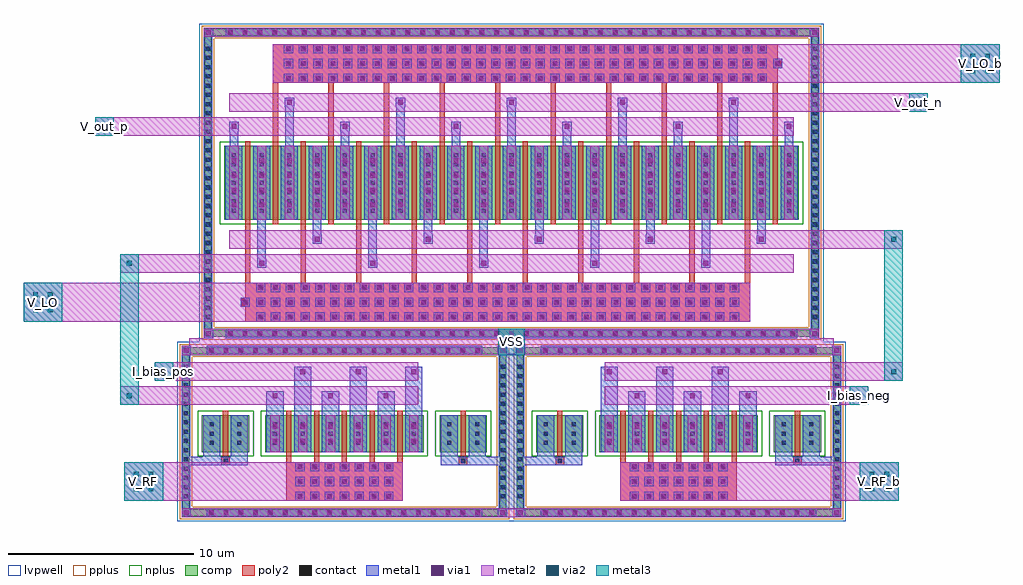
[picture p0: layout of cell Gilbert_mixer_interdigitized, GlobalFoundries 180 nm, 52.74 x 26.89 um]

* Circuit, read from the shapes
.subckt Gilbert_mixer_interdigitized I_bias_neg I_bias_pos VSS V_LO V_LO_b V_RF V_RF_b V_out_n V_out_p
XM1 VSS VSS VSS VSS nfet_03v3 w=2u l=0.28u m=4
XM2 n1 V_LO V_out_p VSS nfet_03v3 w=4u l=0.28u m=5
XM3 V_out_n V_LO_b n1 VSS nfet_03v3 w=4u l=0.28u m=5
XM4 I_bias_pos V_RF n1 VSS nfet_03v3 w=2u l=0.28u m=5
XM5 n2 V_LO V_out_n VSS nfet_03v3 w=4u l=0.28u m=5
XM6 V_out_p V_LO_b n2 VSS nfet_03v3 w=4u l=0.28u m=5
XM7 I_bias_neg V_RF_b n2 VSS nfet_03v3 w=2u l=0.28u m=5
.ends

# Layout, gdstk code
import gdstk
lib = gdstk.Library(unit=1e-6, precision=1e-09)
def R(c, l, rs):  # rectangles x0, y0, x1, y1
    for r in rs: c.add(gdstk.rectangle(r[:2], r[2:], *l))
def A(c, l, x, y, w, h, nx, ny, dx, dy):  # array of equal rectangles
    R(c, l, [(x+i*dx, y+j*dy, x+i*dx+w, y+j*dy+h) for i in range(nx) for j in range(ny)])
def P(c, l, *ps):  # polygons
    for p in ps: c.add(gdstk.Polygon(p, *l))
comp = (22, 0)
poly2 = (30, 0)
pplus = (31, 0)
nplus = (32, 0)
contact = (33, 0)
metal1 = (34, 0)
via1 = (35, 0)
metal2 = (36, 0)
via2 = (38, 0)
metal3 = (42, 0)
lvpwell = (204, 0)

lo_diff_pairs_interdigit = lib.new_cell('LO_diff_pairs_interdigitized')
A(lo_diff_pairs_interdigit, comp, -15.38, -8.32, 0.36, 0.36, 39, 2, 0.8, 16.28)
A(lo_diff_pairs_interdigit, comp, -16.58, -7.43, 0.36, 0.36, 1, 30, 0, 0.5)
A(lo_diff_pairs_interdigit, comp, 16.22, -7.43, 0.36, 0.36, 1, 30, 0, 0.5)
R(lo_diff_pairs_interdigit, comp, [(-15.38,-8.32,15.38,-7.96), (-16.58,-7.43,-16.22,7.43), (16.22,-7.43,16.58,7.43), (-15.53,-2,15.53,2), (-15.38,7.96,15.38,8.32)])
P(lo_diff_pairs_interdigit, comp, [(16.58,8.32),(-16.58,8.32),(-16.58,-7.96),(-16.22,-7.96),(-16.22,7.96),(16.22,7.96),(16.22,-7.96),(-16.22,-7.96),(-16.58,-7.96),(-16.58,-8.32),(16.58,-8.32)])
A(lo_diff_pairs_interdigit, poly2, -13.73, -7.43, 0.36, 0.36, 33, 3, 0.8, 0.8)
A(lo_diff_pairs_interdigit, poly2, -14.39, -5.4, 0.28, 3.16, 10, 1, 3, 0)
A(lo_diff_pairs_interdigit, poly2, -14.39, -2.24, 0.28, 4.48, 20, 1, 1.5, 0)
A(lo_diff_pairs_interdigit, poly2, -12.89, 2.24, 0.28, 3.16, 10, 1, 3, 0)
A(lo_diff_pairs_interdigit, poly2, -12.23, 5.47, 0.36, 0.36, 33, 3, 0.8, 0.8)
R(lo_diff_pairs_interdigit, poly2, [(-14.39,-7.5,12.89,-5.4), (-12.89,5.4,14.39,7.5)])
P(lo_diff_pairs_interdigit, pplus, [(16.74,8.48),(-16.74,8.48),(-16.74,-7.8),(-16.06,-7.8),(-16.06,7.8),(16.06,7.8),(16.06,-7.8),(-16.06,-7.8),(-16.74,-7.8),(-16.74,-8.48),(16.74,-8.48)])
R(lo_diff_pairs_interdigit, nplus, [(-15.76,-2.23,15.76,2.23)])
A(lo_diff_pairs_interdigit, contact, -15.31, -8.25, 0.22, 0.22, 39, 2, 0.8, 16.28)
A(lo_diff_pairs_interdigit, contact, -16.51, -7.36, 0.22, 0.22, 1, 30, 0, 0.5)
A(lo_diff_pairs_interdigit, contact, -13.66, -7.36, 0.22, 0.22, 33, 3, 0.8, 0.8)
A(lo_diff_pairs_interdigit, contact, 16.29, -7.36, 0.22, 0.22, 1, 30, 0, 0.5)
A(lo_diff_pairs_interdigit, contact, -15.11, -1.61, 0.22, 0.22, 21, 7, 1.5, 0.5)
A(lo_diff_pairs_interdigit, contact, -12.16, 5.54, 0.22, 0.22, 33, 3, 0.8, 0.8)
A(lo_diff_pairs_interdigit, metal1, -15.45, -8.39, 0.5, 0.5, 39, 2, 0.8, 16.28)
A(lo_diff_pairs_interdigit, metal1, -13.8, -7.5, 0.5, 0.5, 33, 3, 0.8, 0.8)
A(lo_diff_pairs_interdigit, metal1, -16.63, -7.48, 0.46, 0.46, 1, 30, 0, 0.5)
A(lo_diff_pairs_interdigit, metal1, 16.17, -7.48, 0.46, 0.46, 1, 30, 0, 0.5)
A(lo_diff_pairs_interdigit, metal1, -13.75, -4.6, 0.5, 0.5, 5, 1, 6, 0)
A(lo_diff_pairs_interdigit, metal1, -13.73, -4.1, 0.46, 2.1, 5, 1, 6, 0)
A(lo_diff_pairs_interdigit, metal1, -10.75, -3.3, 0.5, 0.5, 5, 1, 6, 0)
A(lo_diff_pairs_interdigit, metal1, -10.73, -2.8, 0.46, 0.8, 5, 1, 6, 0)
A(lo_diff_pairs_interdigit, metal1, -15.46, -2, 0.92, 4, 21, 1, 1.5, 0)
A(lo_diff_pairs_interdigit, metal1, -15.23, -1.73, 0.46, 0.46, 21, 7, 1.5, 0.5)
A(lo_diff_pairs_interdigit, metal1, -15.25, -1.45, 0.5, 0.5, 21, 4, 1.5, 0.8)
A(lo_diff_pairs_interdigit, metal1, -15.25, -1.45, 0.5, 2.9, 21, 1, 1.5, 0)
A(lo_diff_pairs_interdigit, metal1, -15.23, 2, 0.46, 1.3, 6, 1, 6, 0)
A(lo_diff_pairs_interdigit, metal1, -12.23, 2, 0.46, 2.6, 5, 1, 6, 0)
A(lo_diff_pairs_interdigit, metal1, -15.25, 2.8, 0.5, 0.5, 6, 1, 6, 0)
A(lo_diff_pairs_interdigit, metal1, -12.25, 4.1, 0.5, 0.5, 5, 1, 6, 0)
A(lo_diff_pairs_interdigit, metal1, -12.3, 5.4, 0.5, 0.5, 33, 3, 0.8, 0.8)
R(lo_diff_pairs_interdigit, metal1, [(-16.63,-8.39,-16.13,-7.89), (-16.63,-8.39,-16.13,-7.89), (-16.63,-8.39,-16.17,-7.96), (-15.45,-8.39,15.45,-7.89), (16.13,-8.39,16.63,-7.89), (16.13,-8.39,16.63,-7.89), (16.17,-8.39,16.63,-7.96), (-16.63,-7.96,-16.17,7.96), (16.17,-7.96,16.63,7.96), (-16.63,7.89,-16.13,8.39), (-16.63,7.89,-16.13,8.39), (-15.45,7.89,15.45,8.39), (16.13,7.89,16.63,8.39), (16.13,7.89,16.63,8.39), (-16.63,7.96,-16.17,8.39), (16.17,7.96,16.63,8.39)])
A(lo_diff_pairs_interdigit, via1, -15.33, -8.27, 0.26, 0.26, 39, 2, 0.8, 16.28)
A(lo_diff_pairs_interdigit, via1, -13.68, -7.38, 0.26, 0.26, 33, 3, 0.8, 0.8)
A(lo_diff_pairs_interdigit, via1, -13.63, -4.48, 0.26, 0.26, 5, 1, 6, 0)
A(lo_diff_pairs_interdigit, via1, -10.63, -3.18, 0.26, 0.26, 5, 1, 6, 0)
A(lo_diff_pairs_interdigit, via1, -15.13, -1.33, 0.26, 0.26, 21, 4, 1.5, 0.8)
A(lo_diff_pairs_interdigit, via1, -15.13, 2.92, 0.26, 0.26, 6, 1, 6, 0)
A(lo_diff_pairs_interdigit, via1, -12.13, 4.22, 0.26, 0.26, 5, 1, 6, 0)
A(lo_diff_pairs_interdigit, via1, -12.18, 5.52, 0.26, 0.26, 33, 3, 0.8, 0.8)
R(lo_diff_pairs_interdigit, via1, [(-16.51,-8.27,-16.25,-8.01), (16.25,-8.27,16.51,-8.01), (-16.51,8.01,-16.25,8.27), (16.25,8.01,16.51,8.27)])
A(lo_diff_pairs_interdigit, metal2, -15.45, -8.39, 0.5, 0.5, 39, 2, 0.8, 16.28)
A(lo_diff_pairs_interdigit, metal2, -13.8, -7.5, 0.5, 0.5, 33, 3, 0.8, 0.8)
A(lo_diff_pairs_interdigit, metal2, -13.75, -4.6, 0.5, 0.5, 5, 1, 6, 0)
A(lo_diff_pairs_interdigit, metal2, -10.75, -3.3, 0.5, 0.5, 5, 1, 6, 0)
A(lo_diff_pairs_interdigit, metal2, -15.25, -2, 0.5, 4, 21, 1, 1.5, 0)
A(lo_diff_pairs_interdigit, metal2, -15.25, -1.45, 0.5, 0.5, 21, 4, 1.5, 0.8)
A(lo_diff_pairs_interdigit, metal2, -15.25, 2.8, 0.5, 0.5, 6, 1, 6, 0)
A(lo_diff_pairs_interdigit, metal2, -12.25, 4.1, 0.5, 0.5, 5, 1, 6, 0)
A(lo_diff_pairs_interdigit, metal2, -12.3, 5.4, 0.5, 0.5, 33, 3, 0.8, 0.8)
R(lo_diff_pairs_interdigit, metal2, [(-16.63,-8.39,-16.13,-7.89), (-16.63,-8.39,-16.13,-7.89), (-16.63,-8.39,-16.22,-7.89), (-16.22,-8.39,16.22,-7.89), (16.13,-8.39,16.63,-7.89), (16.13,-8.39,16.63,-7.89), (16.22,-8.39,16.63,-7.89), (-14.39,-7.5,12.89,-5.4), (-15.25,-4.85,15.25,-3.85), (-15.25,-3.55,15.25,-2.55), (-15.25,2.55,15.25,3.55), (-15.25,3.85,15.25,4.85), (-12.89,5.4,14.39,7.5), (-16.63,7.89,-16.13,8.39), (-16.63,7.89,-16.13,8.39), (-16.63,7.89,-16.22,8.39), (-16.22,7.89,16.22,8.39), (16.13,7.89,16.63,8.39), (16.13,7.89,16.63,8.39), (16.22,7.89,16.63,8.39)])
R(lo_diff_pairs_interdigit, lvpwell, [(-16.86,-8.6,16.86,8.6)])

rf_diff_pair_1 = lib.new_cell('RF_diff_pair$1')
A(rf_diff_pair_1, comp, -7.38, -4.565, 0.36, 0.36, 19, 2, 0.8, 8.77)
A(rf_diff_pair_1, comp, 10.68, -4.565, 0.36, 0.36, 19, 2, 0.8, 8.77)
A(rf_diff_pair_1, comp, -8.75, -3.68, 0.36, 0.36, 1, 15, 0, 0.5)
A(rf_diff_pair_1, comp, 8.39, -3.68, 0.36, 0.36, 1, 15, 0, 0.5)
A(rf_diff_pair_1, comp, 9.31, -3.68, 0.36, 0.36, 1, 15, 0, 0.5)
A(rf_diff_pair_1, comp, 26.45, -3.68, 0.36, 0.36, 1, 15, 0, 0.5)
R(rf_diff_pair_1, comp, [(-7.38,-4.565,7.38,-4.205), (10.68,-4.565,25.44,-4.205), (-8.75,-3.68,-8.39,3.68), (8.39,-3.68,8.75,3.68), (9.31,-3.68,9.67,3.68), (26.45,-3.68,26.81,3.68), (-7.7,-1.105,-5.14,0.895), (-4.28,-1.105,4.28,0.895), (5.14,-1.105,7.7,0.895), (10.36,-1.105,12.92,0.895), (13.78,-1.105,22.34,0.895), (23.2,-1.105,25.76,0.895), (-7.38,4.205,7.38,4.565), (10.68,4.205,25.44,4.565)])
P(rf_diff_pair_1, comp, [(8.75,4.565),(-8.75,4.565),(-8.75,-4.205),(-8.39,-4.205),(-8.39,4.205),(8.39,4.205),(8.39,-4.205),(-8.39,-4.205),(-8.75,-4.205),(-8.75,-4.565),(8.75,-4.565)],
  [(9.31,4.565),(26.81,4.565),(26.81,-4.205),(26.45,-4.205),(26.45,4.205),(9.67,4.205),(9.67,-4.205),(26.45,-4.205),(26.81,-4.205),(26.81,-4.565),(9.31,-4.565)])
A(rf_diff_pair_1, poly2, -2.58, -3.675, 0.36, 0.36, 7, 3, 0.8, 0.8)
A(rf_diff_pair_1, poly2, 15.48, -3.675, 0.36, 0.36, 7, 3, 0.8, 0.8)
A(rf_diff_pair_1, poly2, -3.14, -1.645, 0.28, 0.3, 5, 1, 1.5, 0)
A(rf_diff_pair_1, poly2, 14.92, -1.645, 0.28, 0.3, 5, 1, 1.5, 0)
A(rf_diff_pair_1, poly2, -3.14, -1.345, 0.28, 2.48, 5, 1, 1.5, 0)
A(rf_diff_pair_1, poly2, 14.92, -1.345, 0.28, 2.48, 5, 1, 1.5, 0)
R(rf_diff_pair_1, poly2, [(-3.14,-3.745,3.14,-1.645), (14.92,-3.745,21.2,-1.645), (-6.65,-1.805,-6.19,-1.345), (6.19,-1.805,6.65,-1.345), (11.41,-1.805,11.87,-1.345), (24.25,-1.805,24.71,-1.345), (-6.6,-1.755,-6.24,-1.395), (6.24,-1.755,6.6,-1.395), (11.46,-1.755,11.82,-1.395), (24.3,-1.755,24.66,-1.395), (-6.56,-1.345,-6.28,1.135), (6.28,-1.345,6.56,1.135), (11.5,-1.345,11.78,1.135), (24.34,-1.345,24.62,1.135)])
P(rf_diff_pair_1, pplus, [(8.91,4.725),(-8.91,4.725),(-8.91,-4.045),(-8.23,-4.045),(-8.23,4.045),(8.23,4.045),(8.23,-4.045),(-8.23,-4.045),(-8.91,-4.045),(-8.91,-4.725),(8.91,-4.725)],
  [(9.15,4.725),(26.97,4.725),(26.97,-4.045),(26.29,-4.045),(26.29,4.045),(9.83,4.045),(9.83,-4.045),(26.29,-4.045),(26.97,-4.045),(26.97,-4.725),(9.15,-4.725)])
R(rf_diff_pair_1, nplus, [(-7.93,-1.335,-4.91,1.125), (-4.51,-1.335,4.51,1.125), (4.91,-1.335,7.93,1.125), (10.13,-1.335,13.15,1.125), (13.55,-1.335,22.57,1.125), (22.97,-1.335,25.99,1.125)])
A(rf_diff_pair_1, contact, -7.31, -4.495, 0.22, 0.22, 19, 2, 0.8, 8.77)
A(rf_diff_pair_1, contact, 10.75, -4.495, 0.22, 0.22, 19, 2, 0.8, 8.77)
A(rf_diff_pair_1, contact, -8.68, -3.61, 0.22, 0.22, 1, 15, 0, 0.5)
A(rf_diff_pair_1, contact, 8.46, -3.61, 0.22, 0.22, 1, 15, 0, 0.5)
A(rf_diff_pair_1, contact, 9.38, -3.61, 0.22, 0.22, 1, 15, 0, 0.5)
A(rf_diff_pair_1, contact, 26.52, -3.61, 0.22, 0.22, 1, 15, 0, 0.5)
A(rf_diff_pair_1, contact, -2.51, -3.605, 0.22, 0.22, 7, 3, 0.8, 0.8)
A(rf_diff_pair_1, contact, 15.55, -3.605, 0.22, 0.22, 7, 3, 0.8, 0.8)
A(rf_diff_pair_1, contact, -7.28, -0.715, 0.22, 0.22, 1, 3, 0, 0.5)
A(rf_diff_pair_1, contact, -5.78, -0.715, 0.22, 0.22, 1, 3, 0, 0.5)
A(rf_diff_pair_1, contact, -3.86, -0.715, 0.22, 0.22, 6, 3, 1.5, 0.5)
A(rf_diff_pair_1, contact, 5.56, -0.715, 0.22, 0.22, 1, 3, 0, 0.5)
A(rf_diff_pair_1, contact, 7.06, -0.715, 0.22, 0.22, 1, 3, 0, 0.5)
A(rf_diff_pair_1, contact, 10.78, -0.715, 0.22, 0.22, 1, 3, 0, 0.5)
A(rf_diff_pair_1, contact, 12.28, -0.715, 0.22, 0.22, 1, 3, 0, 0.5)
A(rf_diff_pair_1, contact, 14.2, -0.715, 0.22, 0.22, 6, 3, 1.5, 0.5)
A(rf_diff_pair_1, contact, 23.62, -0.715, 0.22, 0.22, 1, 3, 0, 0.5)
A(rf_diff_pair_1, contact, 25.12, -0.715, 0.22, 0.22, 1, 3, 0, 0.5)
R(rf_diff_pair_1, contact, [(-6.53,-1.685,-6.31,-1.465), (6.31,-1.685,6.53,-1.465), (11.53,-1.685,11.75,-1.465), (24.37,-1.685,24.59,-1.465)])
A(rf_diff_pair_1, metal1, -7.45, -4.635, 0.5, 0.5, 19, 2, 0.8, 8.77)
A(rf_diff_pair_1, metal1, 10.61, -4.635, 0.5, 0.5, 19, 2, 0.8, 8.77)
A(rf_diff_pair_1, metal1, -2.65, -3.745, 0.5, 0.5, 7, 3, 0.8, 0.8)
A(rf_diff_pair_1, metal1, 15.41, -3.745, 0.5, 0.5, 7, 3, 0.8, 0.8)
A(rf_diff_pair_1, metal1, -8.8, -3.73, 0.46, 0.46, 1, 15, 0, 0.5)
A(rf_diff_pair_1, metal1, 8.34, -3.73, 0.46, 0.46, 1, 15, 0, 0.5)
A(rf_diff_pair_1, metal1, 9.26, -3.73, 0.46, 0.46, 1, 15, 0, 0.5)
A(rf_diff_pair_1, metal1, 26.4, -3.73, 0.46, 0.46, 1, 15, 0, 0.5)
A(rf_diff_pair_1, metal1, -4.21, -1.105, 0.92, 2, 6, 1, 1.5, 0)
A(rf_diff_pair_1, metal1, 13.85, -1.105, 0.92, 2, 6, 1, 1.5, 0)
A(rf_diff_pair_1, metal1, -7.4, -0.835, 0.46, 0.46, 1, 3, 0, 0.5)
A(rf_diff_pair_1, metal1, -5.9, -0.835, 0.46, 0.46, 1, 3, 0, 0.5)
A(rf_diff_pair_1, metal1, -3.98, -0.835, 0.46, 0.46, 6, 3, 1.5, 0.5)
A(rf_diff_pair_1, metal1, 5.44, -0.835, 0.46, 0.46, 1, 3, 0, 0.5)
A(rf_diff_pair_1, metal1, 6.94, -0.835, 0.46, 0.46, 1, 3, 0, 0.5)
A(rf_diff_pair_1, metal1, 10.66, -0.835, 0.46, 0.46, 1, 3, 0, 0.5)
A(rf_diff_pair_1, metal1, 12.16, -0.835, 0.46, 0.46, 1, 3, 0, 0.5)
A(rf_diff_pair_1, metal1, 14.08, -0.835, 0.46, 0.46, 6, 3, 1.5, 0.5)
A(rf_diff_pair_1, metal1, 23.5, -0.835, 0.46, 0.46, 1, 3, 0, 0.5)
A(rf_diff_pair_1, metal1, 25, -0.835, 0.46, 0.46, 1, 3, 0, 0.5)
A(rf_diff_pair_1, metal1, -4, -0.755, 0.5, 0.5, 6, 2, 1.5, 0.8)
A(rf_diff_pair_1, metal1, -4, -0.755, 0.5, 1.3, 6, 1, 1.5, 0)
A(rf_diff_pair_1, metal1, 14.06, -0.755, 0.5, 0.5, 6, 2, 1.5, 0.8)
A(rf_diff_pair_1, metal1, 14.06, -0.755, 0.5, 1.3, 6, 1, 1.5, 0)
A(rf_diff_pair_1, metal1, -4.21, 0.895, 0.92, 1.3, 3, 1, 3, 0)
A(rf_diff_pair_1, metal1, -2.71, 0.895, 0.92, 2.6, 3, 1, 3, 0)
A(rf_diff_pair_1, metal1, 13.85, 0.895, 0.92, 2.6, 3, 1, 3, 0)
A(rf_diff_pair_1, metal1, 15.35, 0.895, 0.92, 1.3, 3, 1, 3, 0)
A(rf_diff_pair_1, metal1, -4, 1.695, 0.5, 0.5, 3, 1, 3, 0)
A(rf_diff_pair_1, metal1, 15.56, 1.695, 0.5, 0.5, 3, 1, 3, 0)
A(rf_diff_pair_1, metal1, -2.5, 2.995, 0.5, 0.5, 3, 1, 3, 0)
A(rf_diff_pair_1, metal1, 14.06, 2.995, 0.5, 0.5, 3, 1, 3, 0)
R(rf_diff_pair_1, metal1, [(-8.8,-4.635,-8.3,-4.135), (-8.8,-4.635,-8.3,-4.135), (-8.8,-4.635,-8.34,-4.205), (-7.45,-4.635,7.45,-4.135), (8.3,-4.635,8.8,-4.135), (8.3,-4.635,8.8,-4.135), (8.34,-4.635,8.8,-4.205), (9.26,-4.635,9.76,-4.135), (9.26,-4.635,9.76,-4.135), (9.26,-4.635,9.72,-4.205), (10.61,-4.635,25.51,-4.135), (26.36,-4.635,26.86,-4.135), (26.36,-4.635,26.86,-4.135), (26.4,-4.635,26.86,-4.205), (-8.8,-4.205,-8.34,4.205), (8.34,-4.205,8.8,4.205), (9.26,-4.205,9.72,4.205), (26.4,-4.205,26.86,4.205), (-8.8,-1.805,-6.65,-1.345), (-7.63,-1.805,-6.65,-1.345), (-7.63,-1.805,-6.71,-1.105), (-6.65,-1.805,-6.19,-1.345), (-6.19,-1.805,-5.21,-1.345), (-6.13,-1.805,-5.21,-1.105), (5.21,-1.805,6.19,-1.345), (5.21,-1.805,6.13,-1.105), (6.19,-1.805,6.65,-1.345), (6.19,-1.805,8.8,-1.345), (6.65,-1.805,7.63,-1.345), (6.71,-1.805,7.63,-1.105), (9.26,-1.805,11.87,-1.345), (10.43,-1.805,11.41,-1.345), (10.43,-1.805,11.35,-1.105), (11.41,-1.805,11.87,-1.345), (11.87,-1.805,12.85,-1.345), (11.93,-1.805,12.85,-1.105), (23.27,-1.805,24.25,-1.345), (23.27,-1.805,24.19,-1.105), (24.25,-1.805,24.71,-1.345), (24.71,-1.805,25.69,-1.345), (24.71,-1.805,26.86,-1.345), (24.77,-1.805,25.69,-1.105), (-7.63,-1.105,-6.71,0.895), (-6.13,-1.105,-5.21,0.895), (5.21,-1.105,6.13,0.895), (6.71,-1.105,7.63,0.895), (10.43,-1.105,11.35,0.895), (11.93,-1.105,12.85,0.895), (23.27,-1.105,24.19,0.895), (24.77,-1.105,25.69,0.895), (-8.8,4.135,-8.3,4.635), (-8.8,4.135,-8.3,4.635), (-7.45,4.135,7.45,4.635), (8.3,4.135,8.8,4.635), (8.3,4.135,8.8,4.635), (9.26,4.135,9.76,4.635), (9.26,4.135,9.76,4.635), (10.61,4.135,25.51,4.635), (26.36,4.135,26.86,4.635), (26.36,4.135,26.86,4.635), (-8.8,4.205,-8.34,4.635), (8.34,4.205,8.8,4.635), (9.26,4.205,9.72,4.635), (26.4,4.205,26.86,4.635)])
A(rf_diff_pair_1, via1, -7.33, -4.515, 0.26, 0.26, 19, 2, 0.8, 8.77)
A(rf_diff_pair_1, via1, 10.73, -4.515, 0.26, 0.26, 19, 2, 0.8, 8.77)
A(rf_diff_pair_1, via1, -2.53, -3.625, 0.26, 0.26, 7, 3, 0.8, 0.8)
A(rf_diff_pair_1, via1, 15.53, -3.625, 0.26, 0.26, 7, 3, 0.8, 0.8)
A(rf_diff_pair_1, via1, -3.88, -0.635, 0.26, 0.26, 6, 2, 1.5, 0.8)
A(rf_diff_pair_1, via1, 14.18, -0.635, 0.26, 0.26, 6, 2, 1.5, 0.8)
A(rf_diff_pair_1, via1, -3.88, 1.815, 0.26, 0.26, 3, 1, 3, 0)
A(rf_diff_pair_1, via1, 15.68, 1.815, 0.26, 0.26, 3, 1, 3, 0)
A(rf_diff_pair_1, via1, -2.38, 3.115, 0.26, 0.26, 3, 1, 3, 0)
A(rf_diff_pair_1, via1, 14.18, 3.115, 0.26, 0.26, 3, 1, 3, 0)
R(rf_diff_pair_1, via1, [(-8.68,-4.515,-8.42,-4.255), (8.42,-4.515,8.68,-4.255), (9.38,-4.515,9.64,-4.255), (26.48,-4.515,26.74,-4.255), (-8.68,4.255,-8.42,4.515), (8.42,4.255,8.68,4.515), (9.38,4.255,9.64,4.515), (26.48,4.255,26.74,4.515)])
A(rf_diff_pair_1, metal2, -7.45, -4.635, 0.5, 0.5, 19, 2, 0.8, 8.77)
A(rf_diff_pair_1, metal2, 10.61, -4.635, 0.5, 0.5, 19, 2, 0.8, 8.77)
A(rf_diff_pair_1, metal2, -2.65, -3.745, 0.5, 0.5, 7, 3, 0.8, 0.8)
A(rf_diff_pair_1, metal2, 15.41, -3.745, 0.5, 0.5, 7, 3, 0.8, 0.8)
A(rf_diff_pair_1, metal2, -4, -1.105, 0.5, 2, 6, 1, 1.5, 0)
A(rf_diff_pair_1, metal2, 14.06, -1.105, 0.5, 2, 6, 1, 1.5, 0)
A(rf_diff_pair_1, metal2, -4, -0.755, 0.5, 0.5, 6, 2, 1.5, 0.8)
A(rf_diff_pair_1, metal2, 14.06, -0.755, 0.5, 0.5, 6, 2, 1.5, 0.8)
A(rf_diff_pair_1, metal2, -4, 1.695, 0.5, 0.5, 3, 1, 3, 0)
A(rf_diff_pair_1, metal2, 15.56, 1.695, 0.5, 0.5, 3, 1, 3, 0)
A(rf_diff_pair_1, metal2, -2.5, 2.995, 0.5, 0.5, 3, 1, 3, 0)
A(rf_diff_pair_1, metal2, 14.06, 2.995, 0.5, 0.5, 3, 1, 3, 0)
R(rf_diff_pair_1, metal2, [(-8.8,-4.635,-8.3,-4.135), (-8.8,-4.635,-8.3,-4.135), (-8.8,-4.635,-8.39,-4.135), (-8.39,-4.635,8.39,-4.135), (8.3,-4.635,8.8,-4.135), (8.3,-4.635,8.8,-4.135), (8.39,-4.635,8.8,-4.135), (9.26,-4.635,9.76,-4.135), (9.26,-4.635,9.76,-4.135), (9.26,-4.635,9.67,-4.135), (9.67,-4.635,26.45,-4.135), (26.36,-4.635,26.86,-4.135), (26.36,-4.635,26.86,-4.135), (26.45,-4.635,26.86,-4.135), (-3.14,-3.745,3.14,-1.645), (14.92,-3.745,21.2,-1.645), (-4,1.445,4,2.445), (14.06,1.445,22.06,2.445), (-4,2.745,4,3.745), (14.06,2.745,22.06,3.745), (-8.8,4.135,-8.3,4.635), (-8.8,4.135,-8.3,4.635), (-8.8,4.135,-8.39,4.635), (-8.39,4.135,8.39,4.635), (8.3,4.135,8.8,4.635), (8.3,4.135,8.8,4.635), (8.39,4.135,8.8,4.635), (9.26,4.135,9.76,4.635), (9.26,4.135,9.76,4.635), (9.26,4.135,9.67,4.635), (9.67,4.135,26.45,4.635), (26.36,4.135,26.86,4.635), (26.36,4.135,26.86,4.635), (26.45,4.135,26.86,4.635)])
R(rf_diff_pair_1, lvpwell, [(-9.03,-4.845,9.03,4.845), (9.03,-4.845,27.09,4.845)])

straight_route_10f40c94 = lib.new_cell('straight_route_10f40c94')
R(straight_route_10f40c94, metal1, [(-0.23,-17.65,0.69,-9.24)])

straight_route_78d10438 = lib.new_cell('straight_route_78d10438')
R(straight_route_78d10438, metal2, [(-17.42,-8.81,-0.64,-8.39)])

straight_route_e39a8c76 = lib.new_cell('straight_route_e39a8c76')
R(straight_route_e39a8c76, metal2, [(0.64,-8.81,17.42,-8.39)])

straight_route_cefe9225 = lib.new_cell('straight_route_cefe9225')
R(straight_route_cefe9225, metal2, [(-0.64,-9.31,0.64,-8.81)])

straight_route_d6242aec = lib.new_cell('straight_route_d6242aec')
R(straight_route_d6242aec, metal2, [(-0.64,-18.08,0.64,-17.58)])

via_array_8488b2e3 = lib.new_cell('via_array_8488b2e3')
R(via_array_8488b2e3, metal2, [(-0.71,-0.71,0.71,0.71), (-0.25,-0.25,0.25,0.25)])
R(via_array_8488b2e3, via2, [(-0.13,-0.13,0.13,0.13)])
R(via_array_8488b2e3, metal3, [(-0.71,-0.71,0.71,0.71), (-0.25,-0.25,0.25,0.25)])

via_array_67232304 = lib.new_cell('via_array_67232304')
R(via_array_67232304, metal2, [(-0.5,-0.5,0.5,0.5), (-0.25,-0.25,0.25,0.25)])
R(via_array_67232304, via2, [(-0.13,-0.13,0.13,0.13)])
R(via_array_67232304, metal3, [(-0.5,-0.5,0.5,0.5), (-0.25,-0.25,0.25,0.25)])

via_array_67232304_1 = lib.new_cell('via_array_67232304$1')
R(via_array_67232304_1, metal2, [(-0.5,-0.5,0.5,0.5), (-0.25,-0.25,0.25,0.25)])
R(via_array_67232304_1, via2, [(-0.13,-0.13,0.13,0.13)])
R(via_array_67232304_1, metal3, [(-0.5,-0.5,0.5,0.5), (-0.25,-0.25,0.25,0.25)])

via_array_67232304_2 = lib.new_cell('via_array_67232304$2')
R(via_array_67232304_2, metal2, [(-0.5,-0.5,0.5,0.5), (-0.25,-0.25,0.25,0.25)])
R(via_array_67232304_2, via2, [(-0.13,-0.13,0.13,0.13)])
R(via_array_67232304_2, metal3, [(-0.5,-0.5,0.5,0.5), (-0.25,-0.25,0.25,0.25)])

via_array_67232304_3 = lib.new_cell('via_array_67232304$3')
R(via_array_67232304_3, metal2, [(-0.5,-0.5,0.5,0.5), (-0.25,-0.25,0.25,0.25)])
R(via_array_67232304_3, via2, [(-0.13,-0.13,0.13,0.13)])
R(via_array_67232304_3, metal3, [(-0.5,-0.5,0.5,0.5), (-0.25,-0.25,0.25,0.25)])

straight_route_111d46c7 = lib.new_cell('straight_route_111d46c7')
R(straight_route_111d46c7, metal2, [(-20.15,-4.85,-15.25,-3.85)])

straight_route_2e87518e = lib.new_cell('straight_route_2e87518e')
R(straight_route_2e87518e, metal2, [(15.25,-3.55,21.15,-2.55)])

straight_route_793c5d0f = lib.new_cell('straight_route_793c5d0f')
R(straight_route_793c5d0f, metal2, [(-21.48,2.55,-15.25,3.55)])

straight_route_c7f876d7 = lib.new_cell('straight_route_c7f876d7')
R(straight_route_c7f876d7, metal2, [(15.25,3.85,22.48,4.85)])

via_array_83f5aa6b = lib.new_cell('via_array_83f5aa6b')
R(via_array_83f5aa6b, metal2, [(-1.05,-1.05,1.05,1.05), (-0.65,-0.65,-0.15,-0.15), (0.15,-0.65,0.65,-0.15), (-0.65,0.15,-0.15,0.65), (0.15,0.15,0.65,0.65)])
R(via_array_83f5aa6b, via2, [(-0.53,-0.53,-0.27,-0.27), (0.27,-0.53,0.53,-0.27), (-0.53,0.27,-0.27,0.53), (0.27,0.27,0.53,0.53)])
R(via_array_83f5aa6b, metal3, [(-1.05,-1.05,1.05,1.05), (-0.65,-0.65,-0.15,-0.15), (0.15,-0.65,0.65,-0.15), (-0.65,0.15,-0.15,0.65), (0.15,0.15,0.65,0.65)])

via_array_83f5aa6b_1 = lib.new_cell('via_array_83f5aa6b$1')
R(via_array_83f5aa6b_1, metal2, [(-1.05,-1.05,1.05,1.05), (-0.65,-0.65,-0.15,-0.15), (0.15,-0.65,0.65,-0.15), (-0.65,0.15,-0.15,0.65), (0.15,0.15,0.65,0.65)])
R(via_array_83f5aa6b_1, via2, [(-0.53,-0.53,-0.27,-0.27), (0.27,-0.53,0.53,-0.27), (-0.53,0.27,-0.27,0.53), (0.27,0.27,0.53,0.53)])
R(via_array_83f5aa6b_1, metal3, [(-1.05,-1.05,1.05,1.05), (-0.65,-0.65,-0.15,-0.15), (0.15,-0.65,0.65,-0.15), (-0.65,0.15,-0.15,0.65), (0.15,0.15,0.65,0.65)])

straight_route_a52065db = lib.new_cell('straight_route_a52065db')
R(straight_route_a52065db, poly2, [(-14.57,-6.63,-14.21,-6.27)])
R(straight_route_a52065db, contact, [(-14.5,-6.56,-14.28,-6.34)])
R(straight_route_a52065db, metal1, [(-14.64,-6.7,-14.14,-6.2)])
R(straight_route_a52065db, via1, [(-14.52,-6.58,-14.26,-6.32)])
R(straight_route_a52065db, metal2, [(-26.37,-7.5,-14.39,-5.4), (-14.64,-6.7,-14.14,-6.2)])

straight_route_e2e5870f = lib.new_cell('straight_route_e2e5870f')
R(straight_route_e2e5870f, poly2, [(14.21,6.27,14.57,6.63)])
R(straight_route_e2e5870f, contact, [(14.28,6.34,14.5,6.56)])
R(straight_route_e2e5870f, metal1, [(14.14,6.2,14.64,6.7)])
R(straight_route_e2e5870f, via1, [(14.26,6.32,14.52,6.58)])
R(straight_route_e2e5870f, metal2, [(14.39,5.4,24.27,7.5), (14.14,6.2,14.64,6.7)])

via_array_83f5aa6b_2 = lib.new_cell('via_array_83f5aa6b$2')
R(via_array_83f5aa6b_2, metal2, [(-1.05,-1.05,1.05,1.05), (-0.65,-0.65,-0.15,-0.15), (0.15,-0.65,0.65,-0.15), (-0.65,0.15,-0.15,0.65), (0.15,0.15,0.65,0.65)])
R(via_array_83f5aa6b_2, via2, [(-0.53,-0.53,-0.27,-0.27), (0.27,-0.53,0.53,-0.27), (-0.53,0.27,-0.27,0.53), (0.27,0.27,0.53,0.53)])
R(via_array_83f5aa6b_2, metal3, [(-1.05,-1.05,1.05,1.05), (-0.65,-0.65,-0.15,-0.15), (0.15,-0.65,0.65,-0.15), (-0.65,0.15,-0.15,0.65), (0.15,0.15,0.65,0.65)])

via_array_83f5aa6b_3 = lib.new_cell('via_array_83f5aa6b$3')
R(via_array_83f5aa6b_3, metal2, [(-1.05,-1.05,1.05,1.05), (-0.65,-0.65,-0.15,-0.15), (0.15,-0.65,0.65,-0.15), (-0.65,0.15,-0.15,0.65), (0.15,0.15,0.65,0.65)])
R(via_array_83f5aa6b_3, via2, [(-0.53,-0.53,-0.27,-0.27), (0.27,-0.53,0.53,-0.27), (-0.53,0.27,-0.27,0.53), (0.27,0.27,0.53,0.53)])
R(via_array_83f5aa6b_3, metal3, [(-1.05,-1.05,1.05,1.05), (-0.65,-0.65,-0.15,-0.15), (0.15,-0.65,0.65,-0.15), (-0.65,0.15,-0.15,0.65), (0.15,0.15,0.65,0.65)])

via_array_67232304_4 = lib.new_cell('via_array_67232304$4')
R(via_array_67232304_4, metal2, [(-0.5,-0.5,0.5,0.5), (-0.25,-0.25,0.25,0.25)])
R(via_array_67232304_4, via2, [(-0.13,-0.13,0.13,0.13)])
R(via_array_67232304_4, metal3, [(-0.5,-0.5,0.5,0.5), (-0.25,-0.25,0.25,0.25)])

via_array_67232304_5 = lib.new_cell('via_array_67232304$5')
R(via_array_67232304_5, metal2, [(-0.5,-0.5,0.5,0.5), (-0.25,-0.25,0.25,0.25)])
R(via_array_67232304_5, via2, [(-0.13,-0.13,0.13,0.13)])
R(via_array_67232304_5, metal3, [(-0.5,-0.5,0.5,0.5), (-0.25,-0.25,0.25,0.25)])

straight_route_124c9046 = lib.new_cell('straight_route_124c9046')
R(straight_route_124c9046, metal2, [(-19.28,-10.7,-13.03,-9.7)])

straight_route_01bf9ec6 = lib.new_cell('straight_route_01bf9ec6')
R(straight_route_01bf9ec6, metal2, [(13.03,-12,18.28,-11)])

straight_route_e17be98b = lib.new_cell('straight_route_e17be98b')
R(straight_route_e17be98b, metal2, [(-20.93,-17.19,-11.43,-15.09)])

straight_route_d03cf831 = lib.new_cell('straight_route_d03cf831')
R(straight_route_d03cf831, metal2, [(11.43,-17.19,18.83,-15.09)])

l_route_f432e17e = lib.new_cell('L_route_f432e17e')
R(l_route_f432e17e, metal2, [(-21.15,-12,-13.03,-11), (-20.9,-11.75,-20.4,-11.25), (-20.9,-11.75,-20.4,-11.25)])
R(l_route_f432e17e, via2, [(-20.78,-11.63,-20.52,-11.37)])
R(l_route_f432e17e, metal3, [(-21.15,-12,-20.15,-11), (-21.15,-12,-20.15,-4.85), (-20.9,-11.75,-20.4,-11.25)])

l_route_a31930c6 = lib.new_cell('L_route_a31930c6')
R(l_route_a31930c6, metal2, [(13.03,-10.7,21.15,-9.7), (20.4,-10.45,20.9,-9.95), (20.4,-10.45,20.9,-9.95)])
R(l_route_a31930c6, via2, [(20.52,-10.33,20.78,-10.07)])
R(l_route_a31930c6, metal3, [(20.15,-10.7,21.15,-9.7), (20.15,-10.7,21.15,-3.55), (20.4,-10.45,20.9,-9.95)])

gilbert_mixer_interdigit = lib.new_cell('Gilbert_mixer_interdigitized')
gilbert_mixer_interdigit.add(gdstk.Reference(lo_diff_pairs_interdigit, (0,0)))
gilbert_mixer_interdigit.add(gdstk.Reference(rf_diff_pair_1, (-9.03,-13.445)))
gilbert_mixer_interdigit.add(gdstk.Reference(straight_route_10f40c94, (0,0)))
gilbert_mixer_interdigit.add(gdstk.Reference(straight_route_78d10438, (0,0)))
gilbert_mixer_interdigit.add(gdstk.Reference(straight_route_e39a8c76, (0,0)))
gilbert_mixer_interdigit.add(gdstk.Reference(straight_route_cefe9225, (0,0)))
gilbert_mixer_interdigit.add(gdstk.Reference(straight_route_d6242aec, (0,0)))
gilbert_mixer_interdigit.add(gdstk.Reference(via_array_8488b2e3, (0,-8.6)))
gilbert_mixer_interdigit.add(gdstk.Reference(via_array_67232304, (-20.65,-4.35)))
gilbert_mixer_interdigit.add(gdstk.Reference(via_array_67232304_1, (20.65,-3.05)))
gilbert_mixer_interdigit.add(gdstk.Reference(via_array_67232304_2, (-21.98,3.05)))
gilbert_mixer_interdigit.add(gdstk.Reference(via_array_67232304_3, (21.98,4.35)))
gilbert_mixer_interdigit.add(gdstk.Reference(straight_route_111d46c7, (0,0)))
gilbert_mixer_interdigit.add(gdstk.Reference(straight_route_2e87518e, (0,0)))
gilbert_mixer_interdigit.add(gdstk.Reference(straight_route_793c5d0f, (0,0)))
gilbert_mixer_interdigit.add(gdstk.Reference(straight_route_c7f876d7, (0,0)))
gilbert_mixer_interdigit.add(gdstk.Reference(via_array_83f5aa6b, (-25.32,-6.45)))
gilbert_mixer_interdigit.add(gdstk.Reference(via_array_83f5aa6b_1, (25.32,6.45)))
gilbert_mixer_interdigit.add(gdstk.Reference(straight_route_a52065db, (0,0)))
gilbert_mixer_interdigit.add(gdstk.Reference(straight_route_e2e5870f, (0,0)))
gilbert_mixer_interdigit.add(gdstk.Reference(via_array_83f5aa6b_2, (-19.88,-16.14)))
gilbert_mixer_interdigit.add(gdstk.Reference(via_array_83f5aa6b_3, (19.88,-16.14)))
gilbert_mixer_interdigit.add(gdstk.Reference(via_array_67232304_4, (-18.78,-10.2)))
gilbert_mixer_interdigit.add(gdstk.Reference(via_array_67232304_5, (18.78,-11.5)))
gilbert_mixer_interdigit.add(gdstk.Reference(straight_route_124c9046, (0,0)))
gilbert_mixer_interdigit.add(gdstk.Reference(straight_route_01bf9ec6, (0,0)))
gilbert_mixer_interdigit.add(gdstk.Reference(straight_route_e17be98b, (0,0)))
gilbert_mixer_interdigit.add(gdstk.Reference(straight_route_d03cf831, (0,0)))
gilbert_mixer_interdigit.add(gdstk.Reference(l_route_f432e17e, (0,0)))
gilbert_mixer_interdigit.add(gdstk.Reference(l_route_a31930c6, (0,0)))
gilbert_mixer_interdigit.add(gdstk.Label('VSS', (0,-8.6), layer=42, texttype=10))
gilbert_mixer_interdigit.add(gdstk.Label('I_bias_pos', (-18.78,-10.2), layer=42, texttype=10))
gilbert_mixer_interdigit.add(gdstk.Label('I_bias_neg', (18.78,-11.5), layer=42, texttype=10))
gilbert_mixer_interdigit.add(gdstk.Label('V_out_p', (-21.98,3.05), layer=42, texttype=10))
gilbert_mixer_interdigit.add(gdstk.Label('V_out_n', (21.98,4.35), layer=42, texttype=10))
gilbert_mixer_interdigit.add(gdstk.Label('V_LO', (-25.32,-6.45), layer=42, texttype=10))
gilbert_mixer_interdigit.add(gdstk.Label('V_LO_b', (25.32,6.45), layer=42, texttype=10))
gilbert_mixer_interdigit.add(gdstk.Label('V_RF', (-19.88,-16.14), layer=42, texttype=10))
gilbert_mixer_interdigit.add(gdstk.Label('V_RF_b', (19.88,-16.14), layer=42, texttype=10))

lib.write_gds('Gilbert_mixer_interdigitized.gds')
